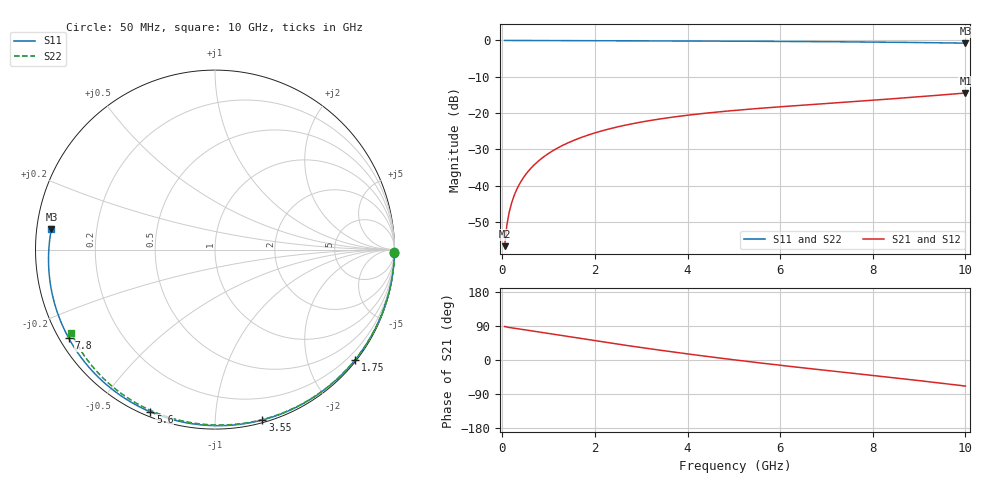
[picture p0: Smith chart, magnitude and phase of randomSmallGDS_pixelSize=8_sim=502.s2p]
! freq	dB(S11)	phase(S11)	dB(S12)	phase(S12)
!  dB(S21)	phase(S21)	dB(S22)	phase(S22)
!S-par simulation data
#  GHz  S  DB  R 50
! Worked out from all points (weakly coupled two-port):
!   200 points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, 50 MHz to 10 GHz, reference 50 ohm
!   highest |S21| = -14.49 dB at 10 GHz (marker M1); lowest = -56.7 dB at 50 MHz (marker M2)
!   lowest |S11| = -0.7 dB at 10 GHz (marker M3), VSWR 23.60, Z = 2.13 + j3.13 ohm
!   |S11| at or under -10 dB: nowhere
!   |S22| runs from -0.7 to 0.0 dB; largest |S21 - S12| = 0
!   S11 on the Smith chart (normalised r, x): 50 MHz: open; 1.75 GHz: 0.03, -2.90; 3.55 GHz: 0.02, -1.32; 5.6 GHz: 0.02, -0.68; 7.8 GHz: 0.03, -0.28; 10 GHz: 0.04, +0.06
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0.05  -0.00 -1.1  -56.71 88.3  -56.71 88.3  -0.00 -0.9
0.1  -0.00 -2.2  -50.77 86.9  -50.77 86.9  -0.00 -1.8
0.15  -0.00 -3.3  -47.31 85.8  -47.31 85.8  -0.00 -2.7
0.2  -0.00 -4.5  -44.87 84.9  -44.87 84.9  -0.00 -3.5
0.25  -0.00 -5.6  -42.97 84.0  -42.97 84.0  -0.00 -4.4
0.35  -0.01 -7.8  -40.09 82.2  -40.09 82.2  -0.01 -6.2
0.5  -0.01 -11.1  -37.04 79.4  -37.04 79.4  -0.01 -8.8
0.7  -0.02 -15.5  -34.16 75.6  -34.16 75.6  -0.02 -12.4
1  -0.03 -22.0  -31.14 69.9  -31.14 69.9  -0.02 -17.6
1.35  -0.04 -29.6  -28.64 63.2  -28.64 63.2  -0.04 -23.6
1.75  -0.06 -38.1  -26.54 55.6  -26.54 55.6  -0.05 -30.5
2.6  -0.09 -55.7  -23.51 39.9  -23.51 39.9  -0.08 -44.7
3.4  -0.12 -71.5  -21.65 26.0  -21.65 26.0  -0.10 -57.7
3.55  -0.13 -74.4  -21.37 23.5  -21.37 23.5  -0.11 -60.0
4.3  -0.16 -88.6  -20.18 11.3  -20.18 11.3  -0.14 -71.7
5.05  -0.20 -102.1  -19.25 -0.2  -19.25 -0.2  -0.17 -82.9
5.6  -0.23 -111.7  -18.67 -8.2  -18.67 -8.2  -0.20 -90.8
6.7  -0.32 -130.5  -17.65 -23.5  -17.65 -23.5  -0.27 -106.2
7.8  -0.42 -148.9  -16.66 -38.2  -16.66 -38.2  -0.37 -120.9
8.35  -0.49 -158.1  -16.15 -45.5  -16.15 -45.5  -0.43 -128.2
9.2  -0.60 -172.8  -15.32 -57.2  -15.32 -57.2  -0.54 -139.3
10  -0.74 172.8  -14.49 -68.8  -14.49 -68.8  -0.66 -149.7
